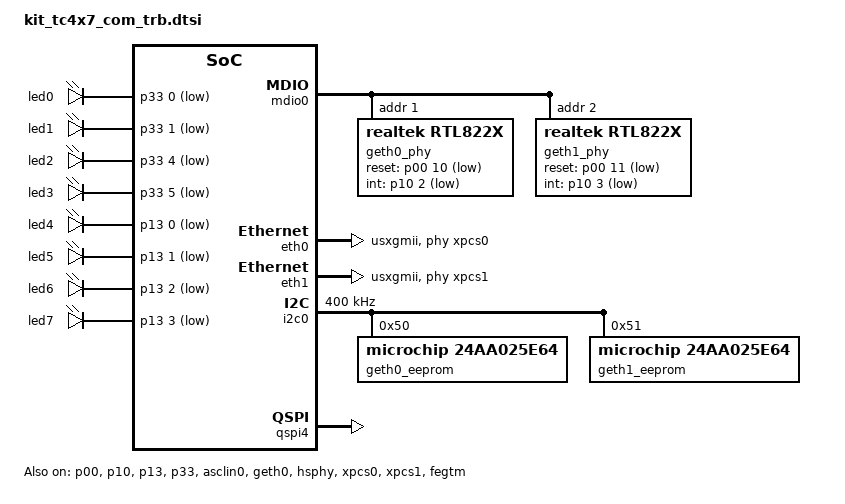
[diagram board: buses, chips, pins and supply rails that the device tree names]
/* Copyright (c) 2024 Infineon Technologies AG
 *
 * SPDX-License-Identifier: Apache-2.0
 */

#include <zephyr/dt-bindings/i2c/i2c.h>
#include <infineon/tc4x/tc4x7_com-gpio_irq.h>

#include "kit_tc4x7_com_trb-pinctrl.dtsi"

/ {
	leds: leds {
		compatible = "gpio-leds";

		led0: led_0 {
			gpios = <&p33 0 GPIO_ACTIVE_LOW>;
		};

		led1: led_1 {
			gpios = <&p33 1 GPIO_ACTIVE_LOW>;
		};

		led2: led_2 {
			gpios = <&p33 4 GPIO_ACTIVE_LOW>;
		};

		led3: led_3 {
			gpios = <&p33 5 GPIO_ACTIVE_LOW>;
		};

		led4: led_4 {
			gpios = <&p13 0 GPIO_ACTIVE_LOW>;
		};

		led5: led_5 {
			gpios = <&p13 1 GPIO_ACTIVE_LOW>;
		};

		led6: led_6 {
			gpios = <&p13 2 GPIO_ACTIVE_LOW>;
		};

		led7: led_7 {
			gpios = <&p13 3 GPIO_ACTIVE_LOW>;
		};
	};

	aliases {
		led0 = &led0;
		test-qspi = &qspi4;
	};
};

&p00 {
	status = "okay";
};

&p10 {
	status = "okay";
	irq-sources = <GPIO_P10_2_IRQ_TIM0_2>, <GPIO_P10_3_IRQ_TIM1_3>;
};

&p13 {
	status = "okay";
};

&p33 {
	status = "okay";
};

&asclin0 {
	compatible = "infineon,asclin-uart";
	pinctrl-0 = <&uart0_default>;
	pinctrl-names = "default";
	status = "okay";
};

&geth0 {
	status = "okay";
};

&mdio0 {
	pinctrl-0 = <&geth0_p0_mdio>;
	pinctrl-names = "default";
	status = "okay";

	geth0_phy: phy@1 {
		compatible = "realtek,rtl822x";
		reg = <1>;
		reset-gpios = <&p00 10 GPIO_ACTIVE_LOW>;
		int-gpios = <&p10 2 GPIO_ACTIVE_LOW>;
		realtek,serdes-interface = "2500Base-X+SGMII";
		realtek,serdes-auto-negotiation;
		status = "okay";
	};

	geth1_phy: phy@2 {
		compatible = "realtek,rtl822x";
		reg = <2>;
		reset-gpios = <&p00 11 GPIO_ACTIVE_LOW>;
		int-gpios = <&p10 3 GPIO_ACTIVE_LOW>;
		realtek,serdes-interface = "2500Base-X+SGMII";
		realtek,serdes-auto-negotiation;
		status = "okay";
	};
};

&hsphy {
	status = "okay";
};

&xpcs0 {
	phy-handle = <&geth0_phy>;
	status = "okay";
};

&xpcs1 {
	phy-handle = <&geth1_phy>;
	status = "okay";
};

&eth0 {
	phy-handle = <&xpcs0>;
	phy-connection-type = "usxgmii";
	status = "okay";
};

&eth1 {
	phy-handle = <&xpcs1>;
	phy-connection-type = "usxgmii";
	status = "okay";
};

&ptp_clock0 {
	status = "okay";
};

&ptp_clock1 {
	status = "okay";
};

&mdio1 {
	pinctrl-0 = <&geth0_p1_mdio>;
	pinctrl-names = "default";
};

&i2c0 {
	pinctrl-0 = <&eeprom_i2c>;
	pinctrl-names = "default";
	clock-frequency = <I2C_BITRATE_FAST>;
	status = "okay";

	geth0_eeprom: eeprom@50 {
		compatible = "microchip,24aa025e64", "atmel,at24";
		reg = <0x50>;
		size = <DT_SIZE_K(2)>;
		pagesize = <16>;
		address-width = <8>;
		timeout = <5>;
		status = "okay";
	};

	geth1_eeprom: eeprom@51 {
		compatible = "microchip,24aa025e64", "atmel,at24";
		reg = <0x51>;
		size = <DT_SIZE_K(2)>;
		pagesize = <16>;
		address-width = <8>;
		timeout = <5>;
		status = "okay";
	};
};

qspi4: &qspi4 {
	pinctrl-0 = <&qspi4_pin>;
	pinctrl-names = "default";
	infineon,sclk-frequency = <1000000>;
	status = "okay";
};

&fosc {
	clock-frequency = <DT_FREQ_M(25)>;
	status = "okay";
};

&sys_pll {
	p-div = <1>;
	n-div = <20>;
};

&per_pll {
	p-div = <1>;
	n-div = <32>;
};

&fpll0 {
	k-div = <1>;
	k-pre-div = "1.0";
};

&fpll1 {
	k-div = <5>;
	k-pre-div = "1.0";
};

&fpll2 {
	k-div = <2>;
	k-pre-div = "2.0";
};

&fpll3 {
	k-div = <1>;
	k-pre-div = "2.0";
};

&fpllppu {
	k-div = <1>;
	k-pre-div = "1.1";
};

&fegtm {
	status = "okay";
};
